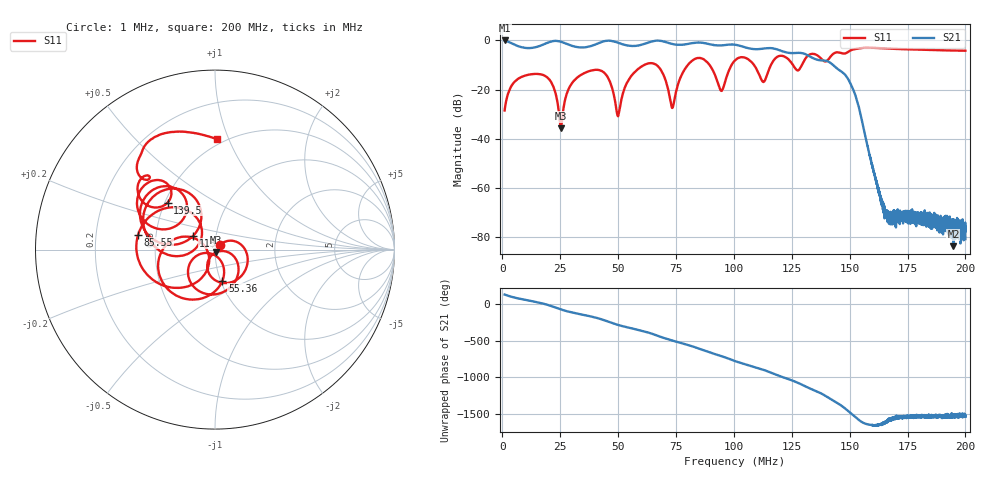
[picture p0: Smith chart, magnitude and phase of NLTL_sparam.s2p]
# Hz S RI R 50
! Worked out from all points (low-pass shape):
!   10100 points, 1 MHz to 200 MHz, reference 50 ohm
!   highest |S21| = -0.04 dB at 1 MHz (marker M1); lowest = -83.7 dB at 194.8 MHz (marker M2)
!   |S21| within 3 dB of the highest: start of sweep to 9.723 MHz; 13 MHz to 105.7 MHz (92.65 MHz wide, 156 % of centre)
!   lowest |S11| = -35.9 dB at 25.26 MHz (marker M3), VSWR 1.03, Z = 50.5 - j1.53 ohm
!   |S11| at or under -10 dB: start of sweep to 61.3 MHz; 66.56 MHz to 80.14 MHz (13.59 MHz wide, 18.5 % of centre); 89.5 MHz to 99.03 MHz (9.528 MHz wide, 10.1 % of centre)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
!   S12 and S22 are empty: the file has one direction only
!   S11 on the Smith chart (normalised r, x): 1 MHz: 1.06, +0.05; 55.36 MHz: 1.02, -0.37; 85.55 MHz: 0.40, +0.08; 113 MHz: 0.78, +0.12; 139.5 MHz: 0.52, +0.31; 200 MHz: 0.46, +0.91
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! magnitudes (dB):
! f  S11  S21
! 1 MHz  -28.5  0.0
! 5.946 MHz  -16.3  -2.0
! 16.78 MHz  -13.9  -2.1
! 21.83 MHz  -18.3  -0.3
! 25.26 MHz  -35.9  -0.5
! 34.18 MHz  -14.0  -2.9
! 44.21 MHz  -13.3  -0.3
! 49.96 MHz  -30.9  -1.0
! 55.36 MHz  -14.9  -2.3
! 67.34 MHz  -10.7  -0.1
! 73.45 MHz  -27.5  -1.5
! 85.55 MHz  -7.2  -0.9
! 94.59 MHz  -20.6  -2.0
! 100.5 MHz  -8.1  -1.8
! 113 MHz  -16.8  -3.3
! 118.9 MHz  -6.6  -3.7
! 133.7 MHz  -5.5  -7.0
! 139.5 MHz  -8.6  -8.3
! 151.7 MHz  -3.7  -20.3
! 166.8 MHz  -3.3  -70.0
! 194.8 MHz  -4.1  -83.7
! 200 MHz  -4.2  -80.8
